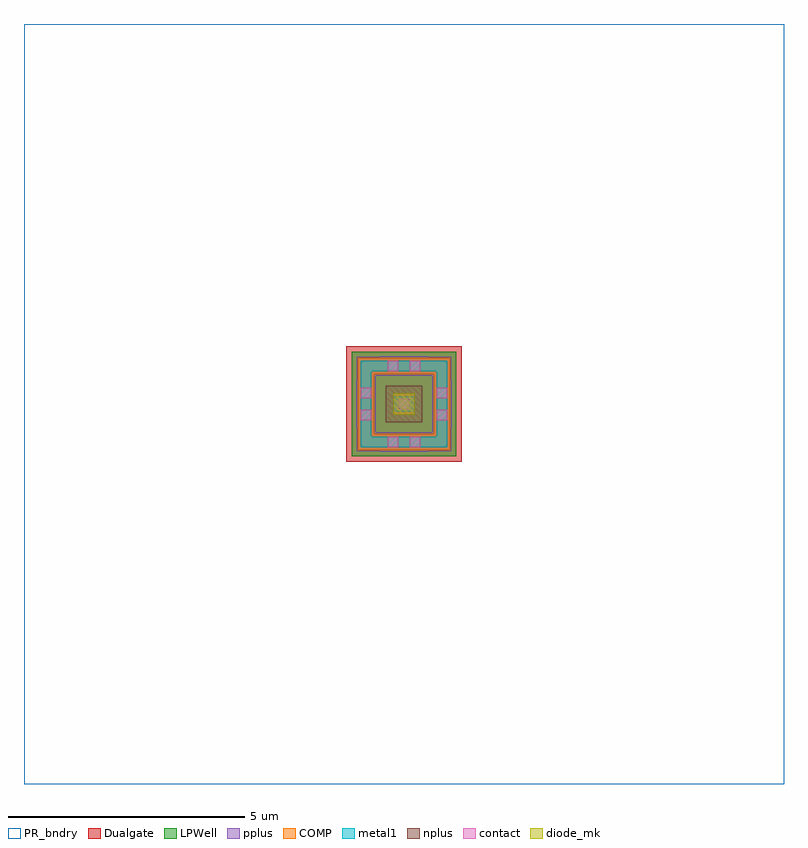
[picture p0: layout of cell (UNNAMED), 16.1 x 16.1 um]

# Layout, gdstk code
import gdstk
lib = gdstk.Library(unit=1e-6, precision=1e-09)
def R(c, l, rs):  # rectangles x0, y0, x1, y1
    for r in rs: c.add(gdstk.rectangle(r[:2], r[2:], *l))
PR_bndry = (0, 0)
COMP = (22, 0)
pplus = (31, 0)
nplus = (32, 0)
contact = (33, 0)
metal1 = (34, 0)
Dualgate = (55, 0)
diode_mk = (115, 5)
LPWell = (204, 0)

c__unnamed_ = lib.new_cell('(UNNAMED)')
R(c__unnamed_, PR_bndry, [(-8.05,-8.05,8.05,8.05)])
R(c__unnamed_, COMP, [(-0.985,-0.985,0.985,-0.625), (-0.985,-0.625,-0.625,0.625), (0.625,-0.625,0.985,0.625), (-0.225,-0.225,0.225,0.225), (-0.985,0.625,0.985,0.985)])
R(c__unnamed_, pplus, [(-0.5,-1.015,0.5,-1.005), (-1.005,-1.005,1.005,-0.595), (-1.005,-0.595,-0.595,-0.5), (0.595,-0.595,1.005,-0.5), (-1.015,-0.5,-0.595,0.5), (0.595,-0.5,1.015,0.5), (-1.005,0.5,-0.595,0.595), (0.595,0.5,1.005,0.595), (-1.005,0.595,1.005,1.005), (-0.5,1.005,0.5,1.015)])
R(c__unnamed_, nplus, [(-0.385,-0.385,0.385,0.385)])
R(c__unnamed_, contact, [(-0.345,-0.915,-0.125,-0.695), (0.125,-0.915,0.345,-0.695), (-0.915,-0.345,-0.695,-0.125), (0.695,-0.345,0.915,-0.125), (-0.11,-0.11,0.11,0.11), (-0.915,0.125,-0.695,0.345), (0.695,0.125,0.915,0.345), (-0.345,0.695,-0.125,0.915), (0.125,0.695,0.345,0.915)])
R(c__unnamed_, metal1, [(-0.92,-0.92,0.92,-0.69), (-0.92,-0.69,-0.69,0.69), (0.69,-0.69,0.92,0.69), (-0.215,-0.16,0.215,0.16), (-0.92,0.69,0.92,0.92)])
R(c__unnamed_, Dualgate, [(-1.225,-1.225,1.225,1.225)])
R(c__unnamed_, diode_mk, [(-0.225,-0.225,0.225,0.225)])
R(c__unnamed_, LPWell, [(-1.105,-1.105,1.105,1.105)])

lib.write_gds('_UNNAMED_.gds')
